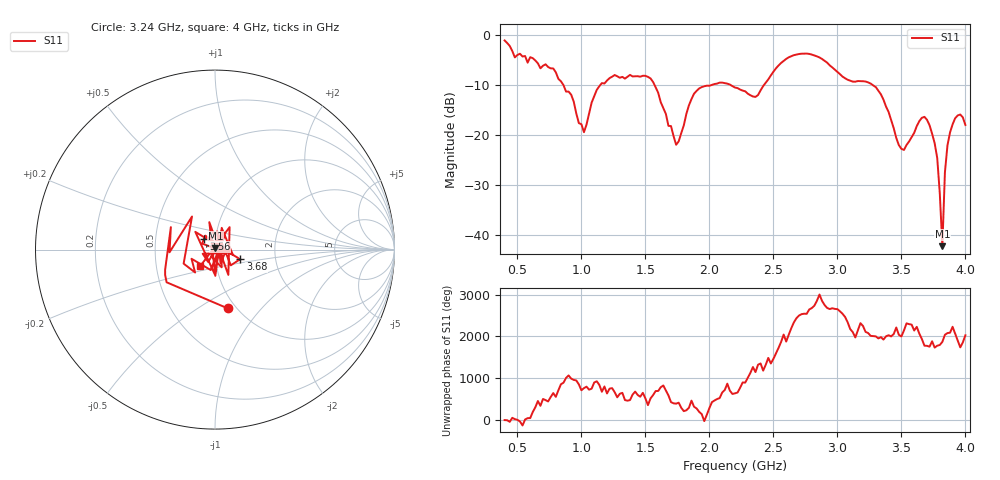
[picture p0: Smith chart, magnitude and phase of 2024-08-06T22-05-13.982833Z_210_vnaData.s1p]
!Created with skrf (http://scikit-rf.org).
# Hz S RI R 50.0
!freq ReS11 ImS11
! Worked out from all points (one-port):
!   181 points, 400 MHz to 4 GHz, reference 50 ohm
!   lowest |S11| = -42.3 dB at 3.82 GHz (marker M1), VSWR 1.02, Z = 50.3 + j0.721 ohm
!   |S11| at or under -10 dB: 858.5 MHz to 1.149 GHz (290.4 MHz wide, 28.9 % of centre); 1.571 GHz to 2.022 GHz (451.3 MHz wide, 25.1 % of centre); 3.273 GHz to end of sweep (the widest 3 of 4)
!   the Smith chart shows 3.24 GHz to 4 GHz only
!   S11 on the Smith chart (normalised r, x): 3.24 GHz: 0.91, -0.67; 3.56 GHz: 0.88, +0.10; 3.68 GHz: 1.32, -0.15; 4 GHz: 0.83, -0.16
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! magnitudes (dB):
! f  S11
! 400 MHz  -1.1
! 480 MHz  -4.5
! 780 MHz  -6.7
! 860 MHz  -10.1
! 1.02 GHz  -19.5
! 1.12 GHz  -11.0
! 1.3 GHz  -8.6
! 1.54 GHz  -8.7
! 1.74 GHz  -22.0
! 1.76 GHz  -21.3
! 1.9 GHz  -11.2
! 2.2 GHz  -10.5
! 2.36 GHz  -12.4
! 2.66 GHz  -4.1
! 2.86 GHz  -4.5
! 3.1 GHz  -9.2
! 3.24 GHz  -9.5
! 3.34 GHz  -11.9
! 3.5 GHz  -22.8
! 3.56 GHz  -21.4
! 3.68 GHz  -16.4
! 3.78 GHz  -24.7
! 3.8 GHz  -31.8
! 3.82 GHz  -42.3
! 3.84 GHz  -27.6
! 3.86 GHz  -22.1
! 3.92 GHz  -16.7
! 4 GHz  -18.1
